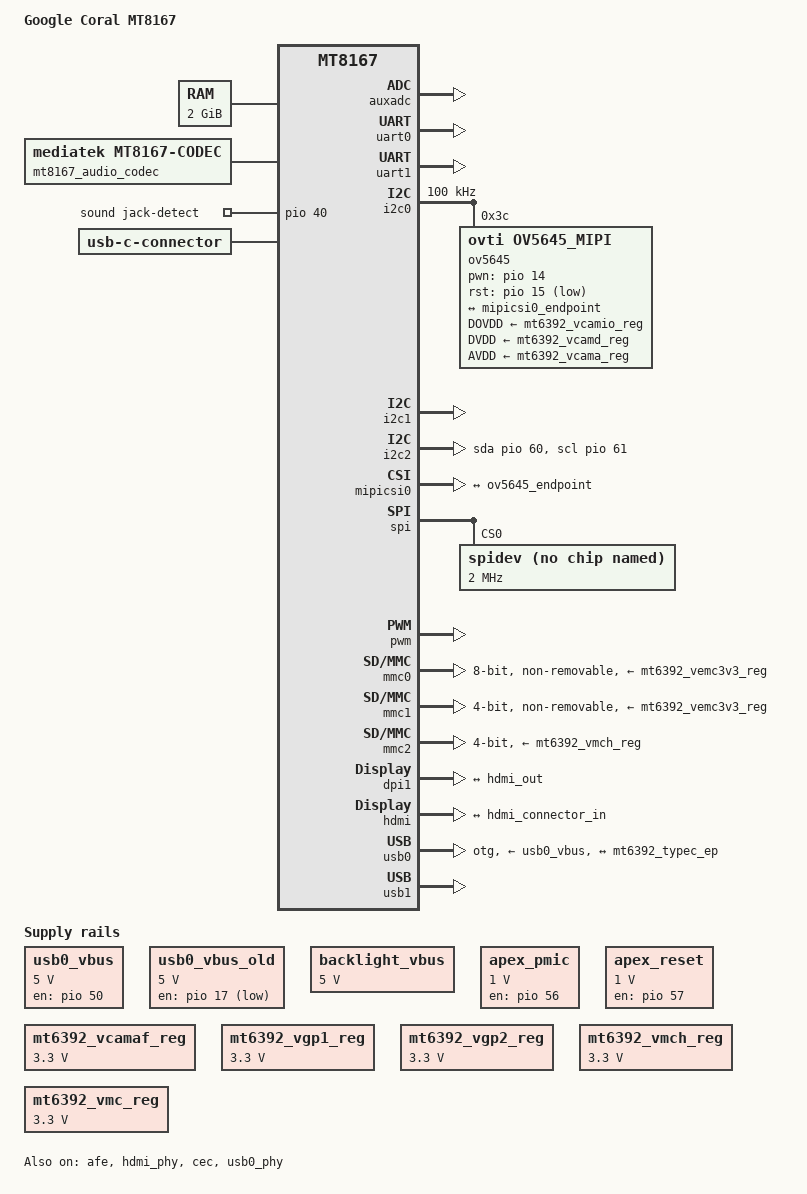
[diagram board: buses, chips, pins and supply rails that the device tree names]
// SPDX-License-Identifier: GPL-2.0
/*
 * Copyright (c) 2019 BayLibre, SAS.
 * Author: Fabien Parent <fparent@baylibre.com>
 */
/dts-v1/;
#include <dt-bindings/gpio/gpio.h>
#include "mt8167.dtsi"
#include "mt6392.dtsi"
/ {
	model = "Google Coral MT8167";
	aliases {
		serial0 = &uart0;
	};
	chosen {
		stdout-path = "serial0:115200n8";
	};
	memory: memory@40000000 {
		device_type = "memory";
		reg = <0 0x40000000 0 0x80000000>;
	};
	firmware {
		optee: optee@4fd00000 {
			compatible = "linaro,optee-tz";
			method = "smc";
		};
	};
	usb0_vbus: regulator@0 {
		compatible = "regulator-fixed";
		regulator-name = "usb0_vbus";
		regulator-min-microvolt = <5000000>;
		regulator-max-microvolt = <5000000>;
		gpio = <&pio 50 GPIO_ACTIVE_HIGH>;
		enable-active-high;
	};
	usb0_vbus_old: regulator@1 {
		compatible = "regulator-fixed";
		regulator-name = "usb0_vbus_old";
		regulator-min-microvolt = <5000000>;
		regulator-max-microvolt = <5000000>;
		gpio = <&pio 17 GPIO_ACTIVE_LOW>;
	};
	backlight_vbus: backlight_vbus {
		compatible = "regulator-fixed";
		regulator-name = "backlight_vbus";
		regulator-min-microvolt = <5000000>;
		regulator-max-microvolt = <5000000>;
	};
	apex_pmic: apex_pmic {
		compatible = "regulator-fixed";
		regulator-name = "apex_pmic";
		regulator-min-microvolt = <1000000>;
		regulator-max-microvolt = <1000000>;
		gpio = <&pio 56 GPIO_ACTIVE_HIGH>;
		startup-delay-us = <0>;
		enable-active-high;
	};
	apex_reset: apex_reset {
		compatible = "regulator-fixed";
		regulator-name = "apex_reset";
		regulator-min-microvolt = <1000000>;
		regulator-max-microvolt = <1000000>;
		gpio = <&pio 57 GPIO_ACTIVE_HIGH>;
		startup-delay-us = <150>;
		enable-active-high;
		regulator-always-on;
	};
	cam_dummy_clk: cam_dummy_clk {
		compatible = "fixed-clock";
		#clock-cells = <0>;
		clock-frequency = <24000000>;
	};
	mt8167_audio_codec: mt8167_audio_codec {
		compatible = "mediatek,mt8167-codec";
		status = "okay";
		clocks = <&topckgen CLK_TOP_AUDIO>;
		clock-names = "bus";
		mediatek,afe-regmap = <&afe>;
		mediatek,apmixedsys-regmap = <&apmixedsys>;
		mediatek,pwrap-regmap = <&pwrap>;
		mediatek,dmic-wire-mode = <1>; // TWO_WIRE
		mediatek,headphone-cap-sel = <1>; // 22uF
		mediatek,speaker-mode = <0>; // Class D
	};
	sound: sound {
		compatible = "mediatek,snd-soc-mt8167-excelsior";
		status = "okay";
		mediatek,platform = <&afe>;
		pinctrl-names = "default";
		pinctrl-0 = <&aud_pins_default>;
		mediatek,jack-detect-gpio = <&pio 40 0>;
	};
	auxadc: adc@11003000 {
		compatible = "mediatek,mt2712-auxadc";
		reg = <0 0x11003000 0 0x1000>;
		clocks = <&topckgen CLK_TOP_AUX_ADC>;
		clock-names = "main";
		#io-channel-cells = <1>;
		status = "okay";
	};
	thermal: thermal@1100d000 {
		#thermal-sensor-cells = <0>;
		compatible = "mediatek,mt8167-thermal";
		reg = <0 0x1100d000 0 0x1000>;
		interrupts = <GIC_SPI 70 IRQ_TYPE_LEVEL_LOW>;
		clocks = <&topckgen CLK_TOP_THEM>, <&topckgen CLK_TOP_AUX_ADC>;
		clock-names = "therm", "auxadc";
		mediatek,auxadc = <&auxadc>;
		mediatek,apmixedsys = <&apmixedsys>;
		nvmem-cells = <&thermal_calibration>;
		nvmem-cell-names = "calibration-data";
	};
	efuse: efuse@10009000 {
		compatible = "mediatek,mt8173-efuse";
		reg = <0 0x10009000 0 0x1000>;
		#address-cells = <1>;
		#size-cells = <1>;
		thermal_calibration: calib@180 {
			reg = <0x180 0xc>;
		};
	};
	backlight: backlight {
		compatible = "pwm-backlight";
		status = "disabled";
		power-supply = <&backlight_vbus>;
	};
	thermal-zones {
		cpu_thermal: cpu_thermal {
			polling-delay-passive = <1000>; /* ms */
			polling-delay = <1000>; /* ms */
			thermal-sensors = <&thermal>;
			trips {
				cpu_alert0: trip0 {
					temperature = <85000>;
					hysteresis = <2000>;
					type = "passive";
				};
				cpu_alert1: trip1 {
					temperature = <90000>;
					hysteresis = <2000>;
					type = "passive";
				};
				cpu_alert2: trip2 {
					temperature = <95000>;
					hysteresis = <2000>;
					type = "passive";
				};
				cpu_alert3: trip3 {
					temperature = <100000>;
					hysteresis = <2000>;
					type = "passive";
				};
				cpu_crit0: trip4 {
					temperature = <105000>;
					hysteresis = <2000>;
					type = "critical";
				};
			};
			cooling-maps {
				map0 {
					trip = <&cpu_alert0>;
					cooling-device = <&cpu0 0 4>;
				};
				map1 {
					trip = <&cpu_alert1>;
					cooling-device = <&cpu0 0 3>;
				};
				map2 {
					trip = <&cpu_alert2>;
					cooling-device = <&cpu0 0 2>;
				};
				map3 {
					trip = <&cpu_alert3>;
					cooling-device = <&cpu0 0 1>;
				};
			};
		};
	};
};
&afe {
	status = "okay";
	mediatek,tdm-out-mode = <0>; // HDMI
};
&cpu0 {
	proc-supply = <&mt6392_vproc_reg>;
};
&cpu1 {
	proc-supply = <&mt6392_vproc_reg>;
};
&cpu2 {
	proc-supply = <&mt6392_vproc_reg>;
};
&cpu3 {
	proc-supply = <&mt6392_vproc_reg>;
};
&mt6392_pmic {
	interrupt-parent = <&pio>;
	interrupts = <28 IRQ_TYPE_LEVEL_HIGH>;
	interrupt-controller;
	#interrupt-cells = <2>;
};
&mt6392_vcamaf_reg {
	regulator-min-microvolt = <3300000>;
	regulator-always-on;
};
&mt6392_vgp1_reg {
	regulator-min-microvolt = <3300000>;
	regulator-always-on;
};
&mt6392_vgp2_reg {
	regulator-min-microvolt = <3300000>;
	regulator-always-on;
};
&mt6392_vmch_reg {
	regulator-min-microvolt = <3300000>;
};
&mt6392_vmc_reg {
	regulator-min-microvolt = <3300000>;
};
&uart0 {
	status = "okay";
	pinctrl-names = "default";
	pinctrl-0 = <&uart0_pins>;
};
&uart1 {
	status = "okay";
	pinctrl-names = "default";
	pinctrl-0 = <&uart1_pins>;
};
&pio {
	i2c0_pins_a: i2c0 {
		pins1 {
			pinmux = <MT8167_PIN_58_SDA0__FUNC_SDA0_0>,
					 <MT8167_PIN_59_SCL0__FUNC_SCL0_0>;
			bias-disable;
		};
	};
	i2c1_pins_a: i2c1 {
		pins1 {
			pinmux = <MT8167_PIN_52_SDA1__FUNC_SDA1_0>,
					 <MT8167_PIN_53_SCL1__FUNC_SCL1_0>;
			bias-disable;
		};
	};
	i2c2_pins_a: i2c2 {
		pins1 {
			pinmux = <MT8167_PIN_60_SDA2__FUNC_GPIO60>,
					 <MT8167_PIN_61_SCL2__FUNC_GPIO61>;
			bias-disable;
		};
		pins_a71ch_reset {
			pinmux = <MT8516_PIN_23_EINT23__FUNC_GPIO23>;
			output-high;
		};
	};
	spi_pins: spi {
		pins1 {
			pinmux = <MT8167_PIN_3_EINT3__FUNC_SPI_MI>,
					 <MT8167_PIN_4_EINT4__FUNC_SPI_MO>,
					 <MT8167_PIN_5_EINT5__FUNC_SPI_CSB>,
					 <MT8167_PIN_6_EINT6__FUNC_SPI_CLK>;
			bias-disable;
		};
	};
	pwm_pins: pwm {
		pins1 {
			pinmux = <MT8167_PIN_11_EINT11__FUNC_PWM_C>,
					 <MT8167_PIN_12_EINT12__FUNC_PWM_A>,
					 <MT8167_PIN_25_EINT25__FUNC_PWM_B>;
		};
	};
	uart0_pins: uart0 {
		pins1 {
			pinmux = <MT8167_PIN_62_URXD0__FUNC_URXD0>,
					 <MT8167_PIN_63_UTXD0__FUNC_UTXD0>;
		};
	};
	uart1_pins: uart1 {
		pins1 {
			pinmux = <MT8167_PIN_64_URXD1__FUNC_URXD1>,
					 <MT8167_PIN_65_UTXD1__FUNC_UTXD1>;
		};
	};
	aud_pins_default: audiodefault {
		pins1 {
			pinmux = <MT8167_PIN_40_KPROW0__FUNC_GPIO40>;
			input-enable;
			bias-pull-up;
		};
	};
	mmc0_pins_default: mmc0default {
		pins_cmd_dat {
			pinmux = <MT8167_PIN_120_MSDC0_DAT0__FUNC_MSDC0_DAT0>,
					 <MT8167_PIN_119_MSDC0_DAT1__FUNC_MSDC0_DAT1>,
					 <MT8167_PIN_118_MSDC0_DAT2__FUNC_MSDC0_DAT2>,
					 <MT8167_PIN_117_MSDC0_DAT3__FUNC_MSDC0_DAT3>,
					 <MT8167_PIN_113_MSDC0_DAT4__FUNC_MSDC0_DAT4>,
					 <MT8167_PIN_112_MSDC0_DAT5__FUNC_MSDC0_DAT5>,
					 <MT8167_PIN_111_MSDC0_DAT6__FUNC_MSDC0_DAT6>,
					 <MT8167_PIN_110_MSDC0_DAT7__FUNC_MSDC0_DAT7>,
					 <MT8167_PIN_115_MSDC0_CMD__FUNC_MSDC0_CMD>;
			input-enable;
			bias-pull-up;
		};
		pins_clk {
			pinmux = <MT8167_PIN_116_MSDC0_CLK__FUNC_MSDC0_CLK>;
			bias-pull-down;
		};
		pins_rst {
			pinmux = <MT8167_PIN_114_MSDC0_RSTB__FUNC_MSDC0_RSTB>;
			bias-pull-up;
		};
		pins_user {
			pinmux = <MT8167_PIN_2_EINT2__FUNC_GPIO2>;
			bias-pull-up;
		};
	};
	mmc0_pins_uhs: mmc0@0{
		pins_cmd_dat {
			pinmux = <MT8167_PIN_120_MSDC0_DAT0__FUNC_MSDC0_DAT0>,
					 <MT8167_PIN_119_MSDC0_DAT1__FUNC_MSDC0_DAT1>,
					 <MT8167_PIN_118_MSDC0_DAT2__FUNC_MSDC0_DAT2>,
					 <MT8167_PIN_117_MSDC0_DAT3__FUNC_MSDC0_DAT3>,
					 <MT8167_PIN_113_MSDC0_DAT4__FUNC_MSDC0_DAT4>,
					 <MT8167_PIN_112_MSDC0_DAT5__FUNC_MSDC0_DAT5>,
					 <MT8167_PIN_111_MSDC0_DAT6__FUNC_MSDC0_DAT6>,
					 <MT8167_PIN_110_MSDC0_DAT7__FUNC_MSDC0_DAT7>,
					 <MT8167_PIN_115_MSDC0_CMD__FUNC_MSDC0_CMD>;
			input-enable;
			drive-strength = <MTK_DRIVE_6mA>;
			bias-pull-up = <MTK_PUPD_SET_R1R0_01>;
		};
		pins_clk {
			pinmux = <MT8167_PIN_116_MSDC0_CLK__FUNC_MSDC0_CLK>;
			drive-strength = <MTK_DRIVE_8mA>;
			bias-pull-down = <MTK_PUPD_SET_R1R0_10>;
		};
		pins_rst {
			pinmux = <MT8167_PIN_114_MSDC0_RSTB__FUNC_MSDC0_RSTB>;
			bias-pull-up;
		};
	};
	mmc1_pins_default: mmc1default {
		pins_cmd_dat {
			pinmux = <MT8167_PIN_106_MSDC1_DAT0__FUNC_MSDC1_DAT0>,
					 <MT8167_PIN_107_MSDC1_DAT1__FUNC_MSDC1_DAT1>,
					 <MT8167_PIN_108_MSDC1_DAT2__FUNC_MSDC1_DAT2>,
					 <MT8167_PIN_109_MSDC1_DAT3__FUNC_MSDC1_DAT3>,
					 <MT8167_PIN_104_MSDC1_CMD__FUNC_MSDC1_CMD>;
			input-enable;
			drive-strength = <MTK_DRIVE_6mA>;
			bias-pull-up = <MTK_PUPD_SET_R1R0_01>;
		};
		pins_clk {
			pinmux = <MT8167_PIN_105_MSDC1_CLK__FUNC_MSDC1_CLK>;
			drive-strength = <MTK_DRIVE_6mA>;
			bias-pull-down = <MTK_PUPD_SET_R1R0_10>;
		};
		pins_pmu_en {
			pinmux = <MT8167_PIN_48_SPI_CS__FUNC_GPIO48>;
			output-low;
		};
		pins_test_en {
			pinmux = <MT8167_PIN_38_MRG_DI__FUNC_GPIO38>,
					 <MT8167_PIN_44_JTMS__FUNC_GPIO44>;
			output-low;
		};
		pins_sys_rst {
			pinmux = <MT8167_PIN_47_JTDO__FUNC_GPIO47>;
			output-high;
		};
	};
	mmc1_pins_uhs: mmc1@0 {
		pins_cmd_dat {
			pinmux = <MT8167_PIN_106_MSDC1_DAT0__FUNC_MSDC1_DAT0>,
					 <MT8167_PIN_107_MSDC1_DAT1__FUNC_MSDC1_DAT1>,
					 <MT8167_PIN_108_MSDC1_DAT2__FUNC_MSDC1_DAT2>,
					 <MT8167_PIN_109_MSDC1_DAT3__FUNC_MSDC1_DAT3>,
					 <MT8167_PIN_104_MSDC1_CMD__FUNC_MSDC1_CMD>;
			input-enable;
			drive-strength = <MTK_DRIVE_6mA>;
			bias-pull-up = <MTK_PUPD_SET_R1R0_01>;
		};
		pins_clk {
			pinmux = <MT8167_PIN_105_MSDC1_CLK__FUNC_MSDC1_CLK>;
			drive-strength = <MTK_DRIVE_8mA>;
			bias-pull-down = <MTK_PUPD_SET_R1R0_10>;
		};
		pins_pmu_en {
			pinmux = <MT8167_PIN_48_SPI_CS__FUNC_GPIO48>;
			output-high;
		};
		pins_test_en {
			pinmux = <MT8167_PIN_38_MRG_DI__FUNC_GPIO38>,
					 <MT8167_PIN_44_JTMS__FUNC_GPIO44>;
			output-low;
		};
		pins_sys_rst {
			pinmux = <MT8167_PIN_47_JTDO__FUNC_GPIO47>;
			output-high;
		};
	};
	mmc2_pins_default: mmc2default {
		pins_cmd_dat {
			pinmux = <MT8167_PIN_70_MSDC2_DAT0__FUNC_MSDC2_DAT0>,
					 <MT8167_PIN_71_MSDC2_DAT1__FUNC_MSDC2_DAT1>,
					 <MT8167_PIN_72_MSDC2_DAT2__FUNC_MSDC2_DAT2>,
					 <MT8167_PIN_73_MSDC2_DAT3__FUNC_MSDC2_DAT3>,
					 <MT8167_PIN_68_MSDC2_CMD__FUNC_MSDC2_CMD>;
			input-enable;
			drive-strength = <MTK_DRIVE_6mA>;
			bias-pull-up = <MTK_PUPD_SET_R1R0_01>;
		};
		pins_clk {
			pinmux = <MT8167_PIN_69_MSDC2_CLK__FUNC_MSDC2_CLK>;
			drive-strength = <MTK_DRIVE_6mA>;
			bias-pull-down = <MTK_PUPD_SET_R1R0_10>;
		};
	};
	mmc2_pins_uhs: mmc2@0 {
		pins_cmd_dat {
			pinmux = <MT8167_PIN_70_MSDC2_DAT0__FUNC_MSDC2_DAT0>,
					 <MT8167_PIN_71_MSDC2_DAT1__FUNC_MSDC2_DAT1>,
					 <MT8167_PIN_72_MSDC2_DAT2__FUNC_MSDC2_DAT2>,
					 <MT8167_PIN_73_MSDC2_DAT3__FUNC_MSDC2_DAT3>,
					 <MT8167_PIN_68_MSDC2_CMD__FUNC_MSDC2_CMD>;
			input-enable;
			drive-strength = <MTK_DRIVE_6mA>;
			bias-pull-up = <MTK_PUPD_SET_R1R0_01>;
		};
		pins_clk {
			pinmux = <MT8167_PIN_69_MSDC2_CLK__FUNC_MSDC2_CLK>;
			drive-strength = <MTK_DRIVE_8mA>;
			bias-pull-down = <MTK_PUPD_SET_R1R0_10>;
		};
	};
	hdmi_pins_default: hdmi_pins_default {
	};
	hdmi_pins_hpd: hdmi_pins_hpd {
		pins_cmd_dat {
			pinmux = <MT8167_PIN_122_HTPLG__FUNC_HTPLG>;
			bias-pull-down;
		};
	};
	/* APEX GPIO start */
	apex_boot_fail: boot_fail {
		pins_cmd_dat {
			pinmux = <MT8167_PIN_55_I2S_DATA_IN__FUNC_GPIO55>;
			slew-rate = <1>;
			input-enable;
			bias-pull-up;
		};
	};
	apex_pmic_en: pmic_en {
		pins_cmd_dat {
			pinmux = <MT8167_PIN_56_I2S_LRCK__FUNC_GPIO56>;
			slew-rate = <1>;
			output-high;
		};
	};
	apex_reset_n: reset_n {
		pins_cmd_dat {
			pinmux = <MT8167_PIN_57_I2S_BCK__FUNC_GPIO57>;
			slew-rate = <1>;
			output-high;
		};
	};
	/* APEX GPIO end */
	camera_pins_default: camdefault {
		pins_cmd_dat {
			pinmux = <MT8167_PIN_84_RDN0__FUNC_RDN0>,
					 <MT8167_PIN_85_RDP0__FUNC_RDP0>,
					 <MT8167_PIN_86_RDN1__FUNC_RDN1>,
					 <MT8167_PIN_87_RDP1__FUNC_RDP1>,
					 <MT8167_PIN_88_RCN__FUNC_RCN>,
					 <MT8167_PIN_89_RCP__FUNC_RCP>,
					 <MT8167_PIN_90_RDN2__FUNC_RDN2>,
					 <MT8167_PIN_91_RDP2__FUNC_RDP2>,
					 <MT8167_PIN_92_RDN3__FUNC_RDN3>,
					 <MT8167_PIN_93_RDP3__FUNC_RDP3>,
					 <MT8167_PIN_94_RCN_A__FUNC_RCN_A>,
					 <MT8167_PIN_95_RCP_A__FUNC_RCP_A>,
					 <MT8167_PIN_96_RDN1_A__FUNC_RDN1_A>,
					 <MT8167_PIN_97_RDP1_A__FUNC_RDP1_A>,
					 <MT8167_PIN_98_RDN0_A__FUNC_RDN0_A>,
					 <MT8167_PIN_99_RDP0_A__FUNC_RDP0_A>,
					 <MT8167_PIN_102_CMMCLK__FUNC_CMMCLK>;
		};
	};
	camera_pins_ov: cam_pin_ov {
		pins_cmd_power_ctl {
			pinmux = <MT8167_PIN_14_EINT14__FUNC_GPIO14>;
			output-high;
			bias-pull-down;
		};
		pins_cmd_power_rst {
			pinmux = <MT8167_PIN_15_EINT15__FUNC_GPIO15>;
			output-low;
		};
	};
};
&i2c0 {
	status = "okay";
	pinctrl-names = "default";
	pinctrl-0 = <&i2c0_pins_a>;
	clock-div = <1>;
	clock-frequency = <100000>;
	ov5645: ov5645@3c {
		compatible = "ovti,ov5645_mipi";
		status = "okay";
		reg = <0x3c>;
		power-domains = <&scpsys MT8167_POWER_DOMAIN_ISP>;
		pwn-gpios = <&pio 14 GPIO_ACTIVE_HIGH>;
		rst-gpios = <&pio 15 GPIO_ACTIVE_LOW>;
		pinctrl-names = "default";
		pinctrl-0 = <&camera_pins_ov>;
		DOVDD-supply = <&mt6392_vcamio_reg>;
		DVDD-supply = <&mt6392_vcamd_reg>;
		AVDD-supply = <&mt6392_vcama_reg>;
		clocks = <&cam_dummy_clk>;
		clock-names = "csi_mclk";
		mclk = <24000000>;
		mclk_source = <0>;
		ae_target = <52>;
		csi_id = <0>;
		port {
			ov5645_endpoint: endpoint {
				remote-endpoint = <&mipicsi0_endpoint>;
				clock-lanes = <0>;
				data-lanes = <1 2>;
			};
		};
	};
};
&i2c1 {
	status = "okay";
	pinctrl-names = "default";
	pinctrl-0 = <&i2c1_pins_a>;
	clock-div = <2>;
};
&i2c2 {
	status = "okay";
	compatible = "i2c-gpio";
	pinctrl-names = "default";
	pinctrl-0 = <&i2c2_pins_a>;
	sda-gpios = <&pio 60 (GPIO_ACTIVE_HIGH|GPIO_OPEN_DRAIN)>;
	scl-gpios = <&pio 61 (GPIO_ACTIVE_HIGH|GPIO_OPEN_DRAIN)>;
};
&mipicsi0 {
	pinctrl-names = "default";
	pinctrl-0 = <&camera_pins_default>;
	port {
		mipicsi0_endpoint: endpoint {
			remote-endpoint = <&ov5645_endpoint>;
		};
	};
};
&spi {
	status = "okay";
	pinctrl-names = "default";
	pinctrl-0 = <&spi_pins>;
	spidev@0 {
		#address-cells = <1>;
		#size-cells = <1>;
		compatible = "rohm,dh2228fv";
		spi-max-frequency = <2000000>;
		reg = <0>;
	};
};
&pwm {
	status = "okay";
	#pwm-cells = <2>;
	pinctrl-names = "default";
	pinctrl-0 = <&pwm_pins>;
};
&mmc0 {
	pinctrl-names = "default", "state_uhs";
	pinctrl-0 = <&mmc0_pins_default>;
	pinctrl-1 = <&mmc0_pins_uhs>;
	status = "okay";
	bus-width = <8>;
	max-frequency = <200000000>;
	cap-mmc-highspeed;
	mmc-hs200-1_8v;
	cap-mmc-hw-reset;
	vmmc-supply = <&mt6392_vemc3v3_reg>;
	vqmmc-supply = <&mt6392_vio18_reg>;
	non-removable;
};
&mmc1 {
	status = "okay";
	pinctrl-names = "default", "state_uhs";
	pinctrl-0 = <&mmc1_pins_default>;
	pinctrl-1 = <&mmc1_pins_uhs>;
	vmmc-supply = <&mt6392_vemc3v3_reg>;
	vqmmc-supply = <&mt6392_vio18_reg>;
	bus-width = <4>;
	max-frequency = <200000000>;
	keep-power-in-suspend;
	cap-sd-highspeed;
	enable-sdio-wakeup;
	sd-uhs-sdr50;
	sd-uhs-sdr104;
	cap-sdio-irq;
	non-removable;
	mt7668 {
		wifi: mt7668-wifi@0 {
			compatible = "mediatek,mt8516-wifi", "mediatek,mt7668-wifi";
			mac-address = [00 00 00 00 00 00];
		};
		bluetooth: mt7668-bluetooth@0 {
			compatible = "mediatek,mt8516-bluetooth", "mediatek,mt7668-bluetooth";
			mac-address = [00 00 00 00 00 00];
		};
	};
};
&mmc2 {
	pinctrl-names = "default", "state_uhs";
	pinctrl-0 = <&mmc2_pins_default>;
	pinctrl-1 = <&mmc2_pins_uhs>;
	status = "okay";
	bus-width = <4>;
	max-frequency = <200000000>;
	cap-sd-highspeed;
	sd-uhs-sdr50;
	sd-uhs-sdr104;
	broken-cd;
	vmmc-supply = <&mt6392_vmch_reg>;
	vqmmc-supply = <&mt6392_vmc_reg>;
};
&dpi1 {
	status = "okay";
	ddc-i2c-bus = <&hdmiddc>;
	port {
		hdmi_connector_in: endpoint@0 {
			remote-endpoint = <&hdmi_out>;
		};
	};
};
&hdmi_phy {
	status = "okay";
};
&cec {
	status = "okay";
};
&hdmi {
	pinctrl-names = "default", "hdmi_hpd";
	pinctrl-0 = <&hdmi_pins_default>;
	pinctrl-1 = <&hdmi_pins_hpd>;
	status = "okay";
	ports {
		#address-cells = <1>;
		#size-cells = <0>;
		port@1 {
			reg = <1>;
			hdmi_out: endpoint {
				remote-endpoint = <&hdmi_connector_in>;
			};
		};
	};
};
&usb0 {
	status = "okay";
	dr_mode = "otg";
	usb-role-switch;
	vbus-supply = <&usb0_vbus>;
	port {
		usb0_role_switch: endpoint {
			remote-endpoint = <&mt6392_typec_ep>;
		};
	};
};
&usb0_phy {
	status = "okay";
};
&mt6392typec {
	usb_con: connector {
		compatible = "usb-c-connector";
		label = "USB-C";
	};
	ports {
		#address-cells = <1>;
		#size-cells = <0>;
		port@1 {
			reg = <1>;
			mt6392_typec_ep: endpoint {
				remote-endpoint = <&usb0_role_switch>;
			};
		};
	};
};
&usb1 {
	status = "okay";
	apex_pmic-supply = <&apex_pmic>;
};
